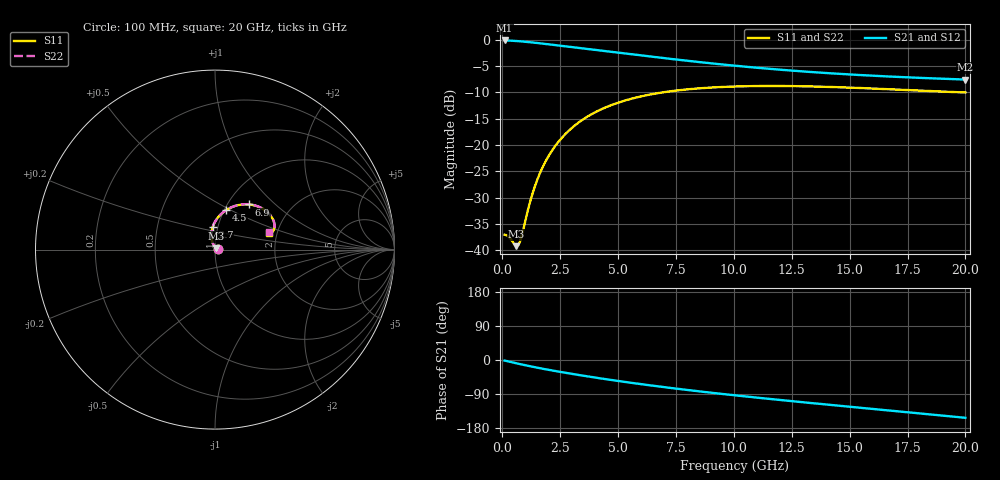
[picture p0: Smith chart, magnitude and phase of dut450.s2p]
! Touchstone file exported from HFSS 2024.1.0
!  File:  C:/UserFiles/LocalFiles/RDL_TSV_Batchsim/temp_RDL_TSV_450_1779725013.aedt
!  Generated:  12:17:49 AM May 26, 2026
!  Design:  RDL_TSV
!  Project:  temp_RDL_TSV_450_1779725013
!  Setup:  Setup1
!  Solution:  Sweep
! Variables:
!  dtsv = 13.73um
!  hbump = 3um
!  htsv = 51.79um
!  ldown = 557.47um
!  lrdl = 129.25um
!  p = 40
!  p1 = 52.9um
!  rhole = 10um
!  subl = 2189.41um
!  t = 450um
!  tdown = 4.04um
!  trdl = 2.19um
!  viad = 10um
!  wdown = 18.38um
!  wrdl = 14.45um
!  xbump = 18um
# GHz S MA R 50.000000
! Terminal data exported
! Port[1] = TM1_1_T1
! Port[2] = TM1_4_T1
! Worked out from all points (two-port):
!   200 points, 100 MHz to 20 GHz, reference 50 ohm
!   highest |S21| = -0.13 dB at 100 MHz (marker M1); lowest = -7.6 dB at 20 GHz (marker M2)
!   |S21| within 3 dB of the highest: start of sweep to 6.295 GHz
!   lowest |S11| = -39.2 dB at 600 MHz (marker M3), VSWR 1.02, Z = 50.8 + j0.781 ohm
!   |S11| at or under -10 dB: start of sweep to 6.924 GHz; 19.9 GHz to end of sweep
!   |S22| runs from -39.2 to -8.8 dB; largest |S21 - S12| = 3.3e-14
!   S11 on the Smith chart (normalised r, x): 100 MHz: 1.03, +0.00; 2.7 GHz: 0.94, +0.24; 4.5 GHz: 1.02, +0.48; 6.9 GHz: 1.25, +0.70; 20 GHz: 1.81, +0.38
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0.1  0.01405 5.0  0.9854 -1.5  0.9854 -1.5  0.01405 5.0
! Gamma 0 0 0 0
! Port Impedance 50 0 50 0
0.3  0.01331 14.9  0.9823 -4.4  0.9823 -4.4  0.01331 14.9
0.6  0.01092 44.7  0.9739 -8.6  0.9739 -8.6  0.01092 44.8
0.7  0.01119 61.5  0.9703 -9.9  0.9703 -9.9  0.01119 61.5
0.8  0.01272 77.7  0.9664 -11.3  0.9664 -11.3  0.01273 77.8
1.2  0.0288 106.8  0.9481 -16.5  0.9481 -16.5  0.02884 106.8
1.4  0.04003 109.2  0.9379 -19.0  0.9379 -19.0  0.04008 109.2
1.6  0.05231 109.0  0.9273 -21.3  0.9273 -21.3  0.05237 109.0
1.8  0.06525 107.4  0.9165 -23.7  0.9165 -23.7  0.06532 107.5
2.1  0.0853 104.1  0.9003 -27.0  0.9003 -27.0  0.08539 104.1
2.7  0.1256 96.0  0.8683 -33.5  0.8683 -33.5  0.1257 96.1
3.5  0.1759 85.5  0.8273 -41.5  0.8273 -41.5  0.1761 85.6
4.5  0.2296 73.9  0.7784 -50.9  0.7784 -50.9  0.2299 74.0
5.6  0.2762 63.2  0.7277 -60.5  0.7277 -60.5  0.2766 63.3
6.8  0.3131 53.5  0.6768 -70.2  0.6768 -70.2  0.3136 53.5
6.9  0.3156 52.8  0.6728 -70.9  0.6728 -70.9  0.3161 52.8
8.5  0.3455 42.5  0.6141 -82.7  0.6141 -82.7  0.3461 42.6
10.1  0.3601 34.5  0.5655 -93.5  0.5655 -93.5  0.3607 34.5
11.7  0.364 28.2  0.5261 -103.7  0.5261 -103.7  0.3646 28.3
13.4  0.3599 23.2  0.4929 -114.0  0.4929 -114.0  0.3607 23.2
16.7  0.3389 17.6  0.4476 -133.3  0.4476 -133.3  0.3396 17.7
20  0.3157 17.5  0.4189 -152.5  0.4189 -152.5  0.3164 17.5
